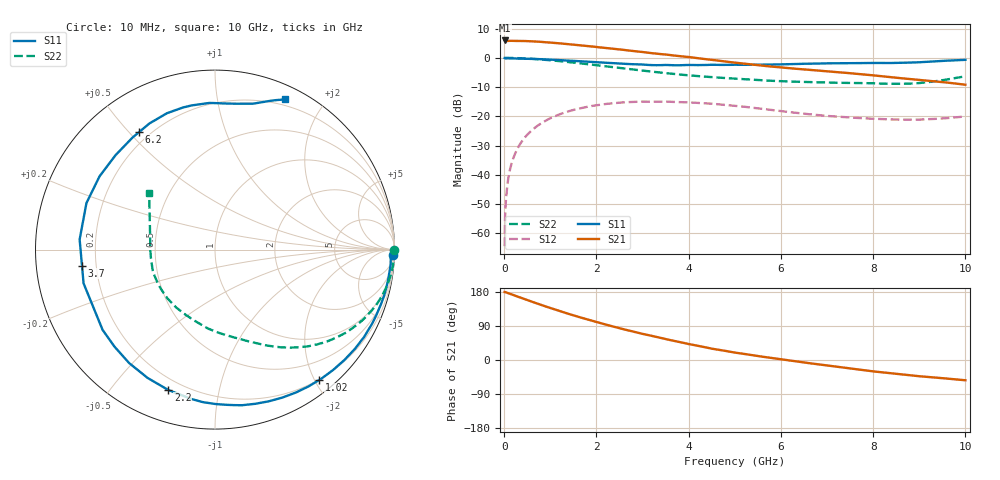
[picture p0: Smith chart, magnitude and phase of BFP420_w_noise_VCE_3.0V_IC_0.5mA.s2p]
! Infineon Technologies  Discrete & RF Semiconductors
! BFP420
! VCE =  3.0 V,  IC =  0.5 mA
! Common Emitter S-Parameters:  Jan 2016
# GHz  S  MA  R  50
!  f  S11  S21  S12  S22
! GHz  MAG  ANG  MAG  ANG  MAG  ANG  MAG  ANG
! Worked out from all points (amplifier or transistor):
!   233 points, 10 MHz to 10 GHz, reference 50 ohm
!   highest |S21| = 6.0 dB at 10 MHz (marker M1)
!   |S21| within 3 dB of that: start of sweep to 2.458 GHz
!   unconditionally stable (mu >= 1): 4.381 GHz to end of sweep
!   at 200 MHz: K = 0.01, MSG = 20.0 dB, |S12| = -34.2 dB
!   at 1.74 GHz: K = 0.27, MSG = 10.5 dB, |S12| = -16.9 dB
!   at 10 GHz: K = 1.57, MAG = 1.0 dB, |S12| = -20.1 dB
!   lowest NFmin = 0.68 dB at 900 MHz
!   S11 on the Smith chart (normalised r, x): 10 MHz: 22, -64; 1.02 GHz: 0.19, -2.06; 2.2 GHz: 0.15, -0.71; 3.7 GHz: 0.15, -0.06; 6.2 GHz: 0.16, +0.53; 10 GHz: 0.14, +1.56
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0.01  0.9904 -1.6  1.984 179.4  0.0006 98.5  0.9991 -0.1
0.015  0.9857 -1.3  1.956 179.4  0.0012 92.6  0.9987 -0.3
0.02  0.981 -0.9  1.929 179.5  0.0019 90.8  0.9983 -0.5
0.025  0.9808 -1.2  1.931 179.2  0.0024 89.9  0.9984 -0.6
0.06  0.9805 -3.0  1.943 177.6  0.0057 87.7  0.9985 -1.6
0.11  0.9815 -5.4  1.953 175.4  0.0107 86.5  0.9977 -3.0
0.2  0.9794 -10.0  1.955 171.5  0.0194 83.9  0.9948 -5.5
0.32  0.9752 -16.0  1.951 166.2  0.0311 80.1  0.9881 -8.7
0.5  0.9679 -25.2  1.933 158.3  0.0483 74.4  0.9734 -13.4
1.02  0.9296 -51.5  1.823 136.5  0.094 57.9  0.9064 -26.2
1.4  0.8968 -70.5  1.715 121.6  0.122 46.3  0.8462 -34.6
1.68  0.8708 -84.0  1.632 111.4  0.139 38.2  0.8002 -40.1
2.2  0.8243 -108.4  1.478 93.6  0.1625 24.2  0.7179 -49.3
2.8  0.7785 -136.0  1.309 74.8  0.1767 9.1  0.6309 -58.8
3.4  0.7504 -161.4  1.159 58.0  0.1779 -4.1  0.5585 -67.8
3.7  0.7465 -173.1  1.092 50.1  0.1758 -9.8  0.5283 -72.4
4.5  0.7617 160.1  0.927 29.9  0.1644 -23.6  0.4683 -86.2
5.1  0.7601 145.4  0.811 17.9  0.1489 -31.5  0.4357 -96.8
6.2  0.7796 122.8  0.663 -1.5  0.1176 -39.2  0.3934 -117.7
6.8  0.7983 112.6  0.606 -11.3  0.1051 -39.5  0.3815 -130.2
8.4  0.8168 84.9  0.465 -35.3  0.0884 -32.3  0.3601 -172.4
10  0.9243 64.9  0.347 -53.5  0.0993 -20.8  0.4833 139.4
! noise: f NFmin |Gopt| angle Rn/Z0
0.9  0.68  0.78  35  0.65
1.8  1.42  0.6  75  0.5
2.4  1.57  0.58  98  0.37
3  2.1  0.58  128  0.24
4  2.49  0.57  177  0.09
